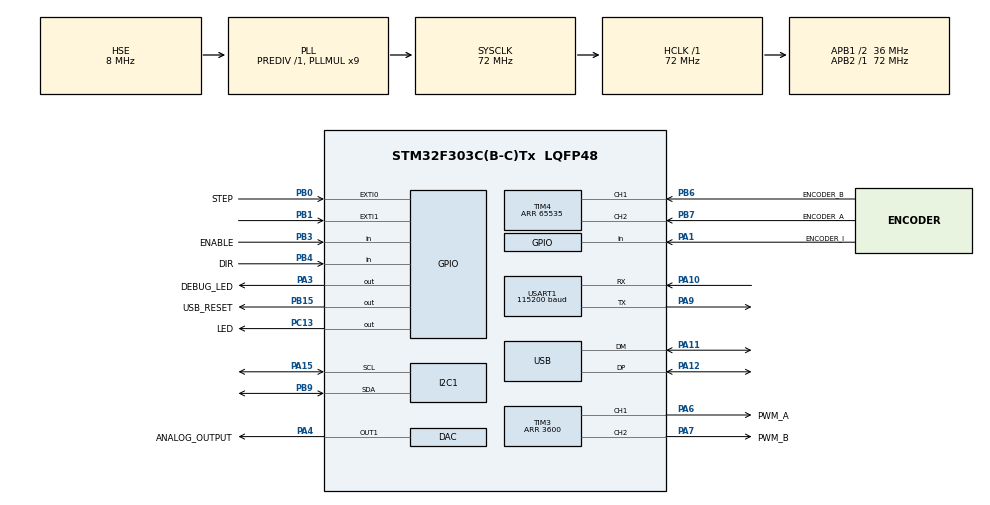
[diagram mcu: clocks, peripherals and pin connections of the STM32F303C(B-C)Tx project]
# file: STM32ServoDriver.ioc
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DAC.DAC_OutputBuffer=DAC_OUTPUTBUFFER_ENABLE
DAC.DAC_Trigger=DAC_TRIGGER_NONE
Dma.Request0=USART1_RX
Dma.USART1_RX.0.Direction=DMA_PERIPH_TO_MEMORY
Dma.USART1_RX.0.Instance=DMA1_Channel5
Dma.USART1_RX.0.MemDataAlignment=DMA_MDATAALIGN_BYTE
Dma.USART1_RX.0.MemInc=DMA_MINC_ENABLE
Dma.USART1_RX.0.Mode=DMA_CIRCULAR
Dma.USART1_RX.0.PeriphDataAlignment=DMA_PDATAALIGN_BYTE
Dma.USART1_RX.0.PeriphInc=DMA_PINC_DISABLE
Dma.USART1_RX.0.Priority=DMA_PRIORITY_MEDIUM
Mcu.Family=STM32F3
Mcu.Name=STM32F303C(B-C)Tx
Mcu.Package=LQFP48
Mcu.UserConstants=TIM3_NAME,"PWM";TIM4_NAME,"ENCODER"
NVIC.DMA1_Channel5_IRQn=true\:0\:0\:false\:false\:true\:false\:true
NVIC.EXTI0_IRQn=true\:0\:0\:false\:false\:true\:true\:true
NVIC.EXTI1_IRQn=true\:0\:0\:false\:false\:true\:true\:true
NVIC.PriorityGroup=NVIC_PRIORITYGROUP_4
NVIC.TIM2_IRQn=true\:0\:0\:false\:false\:true\:true\:true
NVIC.USB_LP_CAN_RX0_IRQn=true\:0\:0\:false\:false\:true\:false\:true
PA0.Signal=ADC1_IN1
PA1.GPIO_Label=ENCODER_I
PA1.Signal=GPIO_Input
PA10.Mode=Asynchronous
PA10.Signal=USART1_RX
PA11.Mode=Device
PA11.Signal=USB_DM
PA12.Mode=Device
PA12.Signal=USB_DP
PA13.Mode=Serial_Wire
PA13.Signal=SYS_JTMS-SWDIO
PA14.Mode=Serial_Wire
PA14.Signal=SYS_JTCK-SWCLK
PA15.Mode=I2C
PA15.Signal=I2C1_SCL
PA3.GPIO_Label=DEBUG_LED
PA3.Signal=GPIO_Output
PA4.GPIO_Label=ANALOG_OUTPUT
PA4.Signal=COMP_DAC1_group
PA6.GPIO_Label=PWM_A
PA6.GPIO_PuPd=GPIO_NOPULL
PA6.GPIO_Speed=GPIO_SPEED_FREQ_MEDIUM
PA6.Signal=S_TIM3_CH1
PA7.GPIO_Label=PWM_B
PA7.GPIO_PuPd=GPIO_NOPULL
PA7.GPIO_Speed=GPIO_SPEED_FREQ_MEDIUM
PA7.Signal=S_TIM3_CH2
PA9.Mode=Asynchronous
PA9.Signal=USART1_TX
PB0.GPIO_Label=STEP
PB0.GPIO_PuPd=GPIO_PULLUP
PB0.Signal=GPXTI0
PB1.Signal=GPXTI1
PB15.GPIO_Label=USB_RESET
PB15.GPIO_ModeDefaultOutputPP=GPIO_MODE_OUTPUT_PP
PB15.GPIO_PuPd=GPIO_PULLUP
PB15.Signal=GPIO_Output
PB3.GPIO_Label=ENABLE
PB3.GPIO_PuPd=GPIO_PULLUP
PB3.Signal=GPIO_Input
PB4.GPIO_Label=DIR
PB4.GPIO_PuPd=GPIO_PULLUP
PB4.Signal=GPIO_Input
PB6.GPIO_FM6=__NULL
PB6.GPIO_Label=ENCODER_B
PB6.GPIO_PuPd=GPIO_PULLUP
PB6.Signal=S_TIM4_CH1
PB7.GPIO_Label=ENCODER_A
PB7.GPIO_PuPd=GPIO_PULLUP
PB7.Signal=S_TIM4_CH2
PB9.Mode=I2C
PB9.Signal=I2C1_SDA
PC13.GPIO_Label=LED
PC13.Signal=GPIO_Output
PF0-OSC_IN.Mode=HSE-External-Oscillator
PF0-OSC_IN.Signal=RCC_OSC_IN
PF1-OSC_OUT.Mode=HSE-External-Oscillator
PF1-OSC_OUT.Signal=RCC_OSC_OUT
ProjectManager.HeapSize=0x200
ProjectManager.StackSize=0x400
ProjectManager.TargetToolchain=STM32CubeIDE
RCC.AHBFreq_Value=72000000
RCC.APB1CLKDivider=RCC_HCLK_DIV2
RCC.APB1Freq_Value=36000000
RCC.APB1TimFreq_Value=72000000
RCC.APB2Freq_Value=72000000
RCC.APB2TimFreq_Value=72000000
RCC.CortexFreq_Value=72000000
RCC.HCLKFreq_Value=72000000
RCC.HSE_VALUE=8000000
RCC.HSI_VALUE=8000000
RCC.LSE_VALUE=32768
RCC.PLLMUL=RCC_PLL_MUL9
RCC.PRESCALERUSB=RCC_USBCLKSOURCE_PLL_DIV1_5
RCC.SYSCLKFreq_VALUE=72000000
RCC.SYSCLKSourceVirtual=RCC_SYSCLKSOURCE_PLLCLK
RCC.USBFreq_Value=48000000
SH.COMP_DAC1_group.0=DAC_OUT1,DAC_OUT1
SH.S_TIM3_CH1.0=TIM3_CH1,PWM Generation1 CH1
SH.S_TIM3_CH2.0=TIM3_CH2,PWM Generation2 CH2
SH.S_TIM4_CH1.0=TIM4_CH1,Encoder_Interface
SH.S_TIM4_CH2.0=TIM4_CH2,Encoder_Interface
TIM2.Period=3000
TIM3.Channel-PWM\ Generation1\ CH1=TIM_CHANNEL_1
TIM3.Channel-PWM\ Generation2\ CH2=TIM_CHANNEL_2
TIM3.Period=3600
TIM3.Pulse-PWM\ Generation1\ CH1=360
TIM3.Pulse-PWM\ Generation2\ CH2=1800
TIM4.EncoderMode=TIM_ENCODERMODE_TI12
TIM4.IC1Filter=10
TIM4.IC2Filter=10
TIM4.Period=65535
USART1.BaudRate=115200
USART1.VirtualMode-Asynchronous=VM_ASYNC
USB_DEVICE.APP_RX_DATA_SIZE=200
USB_DEVICE.APP_TX_DATA_SIZE=200
USB_DEVICE.CLASS_NAME_FS=CDC
USB_DEVICE.VirtualMode=Cdc
USB_DEVICE.VirtualModeFS=Cdc_FS
VP_TIM2_VS_ClockSourceINT.Mode=Internal
VP_TIM6_VS_ClockSourceINT.Mode=Enable_Timer
VP_TIM7_VS_ClockSourceINT.Mode=Enable_Timer
VP_USB_DEVICE_VS_USB_DEVICE_CDC_FS.Mode=CDC_FS
board=custom

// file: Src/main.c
/* USER CODE BEGIN Header */
/**
  ******************************************************************************
  * @file           : main.c
  * @brief          : Main program body
  ******************************************************************************
  * @attention
  *
  * <h2><center>&copy; Copyright (c) 2019 STMicroelectronics.
  * All rights reserved.</center></h2>
  *
  * This software component is licensed by ST under Ultimate Liberty license
  * SLA0044, the "License"; You may not use this file except in compliance with
  * the License. You may obtain a copy of the License at:
  *                             www.st.com/SLA0044
  *
  ******************************************************************************
  */
/* USER CODE END Header */

#include "main.h"
#include "usb_device.h"

/* USER CODE BEGIN Includes */

#include <stdio.h>
#include <stdbool.h>
#include <math.h>
#include <string.h>
#include "configuration.h"
#include "printf/printf.h"
#include "usbd_cdc_if.h"
#include "stm32f3xx_hal_uart.h"
#include "stm32f3xx_hal_gpio.h"
#include "pid.h"
#include "spid.h"
#include "usart.h"
#include "sampling.h"
#include "defines.h"
#include "communication.h"
#include "encoder.h"

/* USER CODE END Includes */

DAC_HandleTypeDef hdac;

I2C_HandleTypeDef hi2c1;

TIM_HandleTypeDef htim2;
TIM_HandleTypeDef htim3;
TIM_HandleTypeDef htim4;
TIM_HandleTypeDef htim6;
TIM_HandleTypeDef htim7;

UART_HandleTypeDef huart1;
DMA_HandleTypeDef hdma_usart1_rx;

/* USER CODE BEGIN PV */

extern USBD_HandleTypeDef hUsbDeviceFS;

volatile servoConfig s;
extern volatile PID pidData;
extern uint8_t DMA_RX_Buffer[DMA_RX_BUFFER_SIZE];

/* Private variables ---------------------------------------------------------*/

/* USER CODE END PV */

void SystemClock_Config(void);
static void MX_GPIO_Init(void);
static void MX_DMA_Init(void);
static void MX_USART1_UART_Init(void);
static void MX_TIM4_Init(void);
static void MX_TIM3_Init(void);
static void MX_TIM2_Init(void);
static void MX_DAC_Init(void);
static void MX_I2C1_Init(void);
static void MX_TIM6_Init(void);
static void MX_TIM7_Init(void);
/* USER CODE BEGIN PFP */
/* Private function prototypes -----------------------------------------------*/

/* USER CODE END PFP */

/* USER CODE BEGIN 0 */

inline void irqTest()
{
	if (servoMode == SERVO_MODE_NORMAL) {
		pidData.cmd += (DIR_GPIO_Port->IDR & DIR_Pin) ? pidData.step_multiplier : -pidData.step_multiplier;
	}
}

void HAL_GPIO_EXTI_Callback(uint16_t GPIO_Pin)
{
	if (GPIO_Pin == GPIO_PIN_0) {
		irqTest();
	}
}

static inline void updateOutput()
{
	if (pidData.output > 0) {
		__HAL_TIM_SET_COMPARE(&htim3, TIM_CHANNEL_1, ABS((int)pidData.output));
		__HAL_TIM_SET_COMPARE(&htim3, TIM_CHANNEL_2, 0);
		//TIM3->CCR1 = pidState.duty;
		//TIM3->CCR2 = 0;
	} else {
		__HAL_TIM_SET_COMPARE(&htim3, TIM_CHANNEL_1, 0);
		__HAL_TIM_SET_COMPARE(&htim3, TIM_CHANNEL_2, ABS((int)pidData.output));
		//TIM3->CCR1 = 0;
		//TIM3->CCR2 = pidState.duty;
	}

//		HAL_DAC_SetValue(
//				&hdac,
//				DAC_CHANNEL_1,
//				DAC_ALIGN_12B_R,
//				CLAMP(0x7FF + ((int32_t)spid_ctx.last_error * 25), 0, 0b111111111111)
//		);
}

void HAL_TIM_PeriodElapsedCallback(TIM_HandleTypeDef *htim)
{
	if (htim == &htim2) {

		updateEncoder();
		calcSPid(1.0f);

		switch (servoMode) {
			case SERVO_MODE_VELOCITY:
				pidData.cmd += servoSpeed;
				break;
			case SERVO_MODE_PWM:
				pidData.output = servoSpeed;
				break;
		}

		updateOutput();
		handleSampling();
		handleStatus();
	}
}

void XferHalfCpltCallback(struct __DMA_HandleTypeDef * hdma)
{
	#if COMMUNICATION_CHANNEL == COMMUNICATION_UART

	processUart();

	#endif
}

/* USER CODE END 0 */

int main(void)
{

  /* MCU Configuration--------------------------------------------------------*/

  /* Reset of all peripherals, Initializes the Flash interface and the Systick. */
  HAL_Init();

  /* Configure the system clock */
  SystemClock_Config();

  /* Initialize all configured peripherals */
  MX_GPIO_Init();
  MX_DMA_Init();
  MX_USART1_UART_Init();
  MX_TIM4_Init();
  MX_TIM3_Init();
  MX_TIM2_Init();
  MX_DAC_Init();
  MX_USB_DEVICE_Init();
  MX_I2C1_Init();
  MX_TIM6_Init();
  MX_TIM7_Init();
  /* USER CODE BEGIN 2 */

  HAL_Delay(10);
  HAL_GPIO_WritePin(USB_RESET_GPIO_Port, USB_RESET_Pin, GPIO_PIN_SET);

  /* Unlock the Flash Program Erase controller */
  //FLASH_Unlock();

  /* EEPROM Init */
  //EE_Init();

  initPid();
  initSPid(&pidData);

  HAL_TIM_Encoder_Start(&htim4, TIM_CHANNEL_ALL);

  HAL_TIM_PWM_Start(&htim3, TIM_CHANNEL_1);
  HAL_TIM_PWM_Start(&htim3, TIM_CHANNEL_2);

  HAL_DAC_Start(&hdac, DAC_CHANNEL_1);
  HAL_TIM_Base_Start_IT(&htim2);

  #if COMMUNICATION_CHANNEL == COMMUNICATION_UART

  hdma_usart1_rx.XferHalfCpltCallback = XferHalfCpltCallback;
  hdma_usart1_rx.XferCpltCallback = XferHalfCpltCallback;

  HAL_UART_Receive_DMA((UART_HandleTypeDef*)&huart1, (uint8_t*)&DMA_RX_Buffer, DMA_RX_BUFFER_SIZE);

  #endif

  /* USER CODE END 2 */

  /* Infinite loop */
  /* USER CODE BEGIN WHILE */

  while (1)
  {
	  HAL_Delay(5);

	  #if COMMUNICATION_CHANNEL == COMMUNICATION_USB

	  processUSB();

	  #endif

    /* USER CODE END WHILE */

  }
}

void SystemClock_Config(void)
{
  RCC_OscInitTypeDef RCC_OscInitStruct = {0};
  RCC_ClkInitTypeDef RCC_ClkInitStruct = {0};
  RCC_PeriphCLKInitTypeDef PeriphClkInit = {0};

  /** Initializes the CPU, AHB and APB busses clocks
  */
  RCC_OscInitStruct.OscillatorType = RCC_OSCILLATORTYPE_HSI|RCC_OSCILLATORTYPE_HSE;
  RCC_OscInitStruct.HSEState = RCC_HSE_ON;
  RCC_OscInitStruct.HSEPredivValue = RCC_HSE_PREDIV_DIV1;
  RCC_OscInitStruct.HSIState = RCC_HSI_ON;
  RCC_OscInitStruct.HSICalibrationValue = RCC_HSICALIBRATION_DEFAULT;
  RCC_OscInitStruct.PLL.PLLState = RCC_PLL_ON;
  RCC_OscInitStruct.PLL.PLLSource = RCC_PLLSOURCE_HSE;
  RCC_OscInitStruct.PLL.PLLMUL = RCC_PLL_MUL9;
  if (HAL_RCC_OscConfig(&RCC_OscInitStruct) != HAL_OK)
  {
    Error_Handler();
  }
  /** Initializes the CPU, AHB and APB busses clocks
  */
  RCC_ClkInitStruct.ClockType = RCC_CLOCKTYPE_HCLK|RCC_CLOCKTYPE_SYSCLK
                              |RCC_CLOCKTYPE_PCLK1|RCC_CLOCKTYPE_PCLK2;
  RCC_ClkInitStruct.SYSCLKSource = RCC_SYSCLKSOURCE_PLLCLK;
  RCC_ClkInitStruct.AHBCLKDivider = RCC_SYSCLK_DIV1;
  RCC_ClkInitStruct.APB1CLKDivider = RCC_HCLK_DIV2;
  RCC_ClkInitStruct.APB2CLKDivider = RCC_HCLK_DIV1;

  if (HAL_RCC_ClockConfig(&RCC_ClkInitStruct, FLASH_LATENCY_2) != HAL_OK)
  {
    Error_Handler();
  }
  PeriphClkInit.PeriphClockSelection = RCC_PERIPHCLK_USB|RCC_PERIPHCLK_USART1
                              |RCC_PERIPHCLK_I2C1;
  PeriphClkInit.Usart1ClockSelection = RCC_USART1CLKSOURCE_PCLK2;
  PeriphClkInit.I2c1ClockSelection = RCC_I2C1CLKSOURCE_HSI;
  PeriphClkInit.USBClockSelection = RCC_USBCLKSOURCE_PLL_DIV1_5;
  if (HAL_RCCEx_PeriphCLKConfig(&PeriphClkInit) != HAL_OK)
  {
    Error_Handler();
  }
}

static void MX_DAC_Init(void)
{

  DAC_ChannelConfTypeDef sConfig = {0};

  /** DAC Initialization
  */
  hdac.Instance = DAC;
  if (HAL_DAC_Init(&hdac) != HAL_OK)
  {
    Error_Handler();
  }
  /** DAC channel OUT1 config
  */
  sConfig.DAC_Trigger = DAC_TRIGGER_NONE;
  sConfig.DAC_OutputBuffer = DAC_OUTPUTBUFFER_ENABLE;
  if (HAL_DAC_ConfigChannel(&hdac, &sConfig, DAC_CHANNEL_1) != HAL_OK)
  {
    Error_Handler();
  }

}

static void MX_I2C1_Init(void)
{

  hi2c1.Instance = I2C1;
  hi2c1.Init.Timing = 0x2000090E;
  hi2c1.Init.OwnAddress1 = 0;
  hi2c1.Init.AddressingMode = I2C_ADDRESSINGMODE_7BIT;
  hi2c1.Init.DualAddressMode = I2C_DUALADDRESS_DISABLE;
  hi2c1.Init.OwnAddress2 = 0;
  hi2c1.Init.OwnAddress2Masks = I2C_OA2_NOMASK;
  hi2c1.Init.GeneralCallMode = I2C_GENERALCALL_DISABLE;
  hi2c1.Init.NoStretchMode = I2C_NOSTRETCH_DISABLE;
  if (HAL_I2C_Init(&hi2c1) != HAL_OK)
  {
    Error_Handler();
  }
  /** Configure Analogue filter
  */
  if (HAL_I2CEx_ConfigAnalogFilter(&hi2c1, I2C_ANALOGFILTER_ENABLE) != HAL_OK)
  {
    Error_Handler();
  }
  /** Configure Digital filter
  */
  if (HAL_I2CEx_ConfigDigitalFilter(&hi2c1, 0) != HAL_OK)
  {
    Error_Handler();
  }

}

static void MX_TIM2_Init(void)
{

  TIM_ClockConfigTypeDef sClockSourceConfig = {0};
  TIM_MasterConfigTypeDef sMasterConfig = {0};

  htim2.Instance = TIM2;
  htim2.Init.Prescaler = 0;
  htim2.Init.CounterMode = TIM_COUNTERMODE_UP;
  htim2.Init.Period = 3000;
  htim2.Init.ClockDivision = TIM_CLOCKDIVISION_DIV1;
  htim2.Init.AutoReloadPreload = TIM_AUTORELOAD_PRELOAD_DISABLE;
  if (HAL_TIM_Base_Init(&htim2) != HAL_OK)
  {
    Error_Handler();
  }
  sClockSourceConfig.ClockSource = TIM_CLOCKSOURCE_INTERNAL;
  if (HAL_TIM_ConfigClockSource(&htim2, &sClockSourceConfig) != HAL_OK)
  {
    Error_Handler();
  }
  sMasterConfig.MasterOutputTrigger = TIM_TRGO_RESET;
  sMasterConfig.MasterSlaveMode = TIM_MASTERSLAVEMODE_DISABLE;
  if (HAL_TIMEx_MasterConfigSynchronization(&htim2, &sMasterConfig) != HAL_OK)
  {
    Error_Handler();
  }

}

static void MX_TIM3_Init(void)
{

  /* USER CODE BEGIN TIM3_Init 0 */

  //OUTPUT PWM
  //OUTPUT PWM
  //OUTPUT PWM

  /* USER CODE END TIM3_Init 0 */

  TIM_MasterConfigTypeDef sMasterConfig = {0};
  TIM_OC_InitTypeDef sConfigOC = {0};

  htim3.Instance = TIM3;
  htim3.Init.Prescaler = 0;
  htim3.Init.CounterMode = TIM_COUNTERMODE_UP;
  htim3.Init.Period = 3600;
  htim3.Init.ClockDivision = TIM_CLOCKDIVISION_DIV1;
  htim3.Init.AutoReloadPreload = TIM_AUTORELOAD_PRELOAD_DISABLE;
  if (HAL_TIM_PWM_Init(&htim3) != HAL_OK)
  {
    Error_Handler();
  }
  sMasterConfig.MasterOutputTrigger = TIM_TRGO_RESET;
  sMasterConfig.MasterSlaveMode = TIM_MASTERSLAVEMODE_DISABLE;
  if (HAL_TIMEx_MasterConfigSynchronization(&htim3, &sMasterConfig) != HAL_OK)
  {
    Error_Handler();
  }
  sConfigOC.OCMode = TIM_OCMODE_PWM1;
  sConfigOC.Pulse = 360;
  sConfigOC.OCPolarity = TIM_OCPOLARITY_HIGH;
  sConfigOC.OCFastMode = TIM_OCFAST_DISABLE;
  if (HAL_TIM_PWM_ConfigChannel(&htim3, &sConfigOC, TIM_CHANNEL_1) != HAL_OK)
  {
    Error_Handler();
  }
  sConfigOC.Pulse = 1800;
  if (HAL_TIM_PWM_ConfigChannel(&htim3, &sConfigOC, TIM_CHANNEL_2) != HAL_OK)
  {
    Error_Handler();
  }
  HAL_TIM_MspPostInit(&htim3);

}

static void MX_TIM4_Init(void)
{

  /* USER CODE BEGIN TIM4_Init 0 */

  //ENCODER
  //ENCODER
  //ENCODER

  /* USER CODE END TIM4_Init 0 */

  TIM_Encoder_InitTypeDef sConfig = {0};
  TIM_MasterConfigTypeDef sMasterConfig = {0};

  htim4.Instance = TIM4;
  htim4.Init.Prescaler = 0;
  htim4.Init.CounterMode = TIM_COUNTERMODE_UP;
  htim4.Init.Period = 65535;
  htim4.Init.ClockDivision = TIM_CLOCKDIVISION_DIV1;
  htim4.Init.AutoReloadPreload = TIM_AUTORELOAD_PRELOAD_DISABLE;
  sConfig.EncoderMode = TIM_ENCODERMODE_TI12;
  sConfig.IC1Polarity = TIM_ICPOLARITY_RISING;
  sConfig.IC1Selection = TIM_ICSELECTION_DIRECTTI;
  sConfig.IC1Prescaler = TIM_ICPSC_DIV1;
  sConfig.IC1Filter = 10;
  sConfig.IC2Polarity = TIM_ICPOLARITY_RISING;
  sConfig.IC2Selection = TIM_ICSELECTION_DIRECTTI;
  sConfig.IC2Prescaler = TIM_ICPSC_DIV1;
  sConfig.IC2Filter = 10;
  if (HAL_TIM_Encoder_Init(&htim4, &sConfig) != HAL_OK)
  {
    Error_Handler();
  }
  sMasterConfig.MasterOutputTrigger = TIM_TRGO_RESET;
  sMasterConfig.MasterSlaveMode = TIM_MASTERSLAVEMODE_DISABLE;
  if (HAL_TIMEx_MasterConfigSynchronization(&htim4, &sMasterConfig) != HAL_OK)
  {
    Error_Handler();
  }

}

static void MX_TIM6_Init(void)
{

  TIM_MasterConfigTypeDef sMasterConfig = {0};

  htim6.Instance = TIM6;
  htim6.Init.Prescaler = 0;
  htim6.Init.CounterMode = TIM_COUNTERMODE_UP;
  htim6.Init.Period = 0;
  htim6.Init.AutoReloadPreload = TIM_AUTORELOAD_PRELOAD_DISABLE;
  if (HAL_TIM_Base_Init(&htim6) != HAL_OK)
  {
    Error_Handler();
  }
  sMasterConfig.MasterOutputTrigger = TIM_TRGO_RESET;
  sMasterConfig.MasterSlaveMode = TIM_MASTERSLAVEMODE_DISABLE;
  if (HAL_TIMEx_MasterConfigSynchronization(&htim6, &sMasterConfig) != HAL_OK)
  {
    Error_Handler();
  }

}

static void MX_TIM7_Init(void)
{

  TIM_MasterConfigTypeDef sMasterConfig = {0};

  htim7.Instance = TIM7;
  htim7.Init.Prescaler = 0;
  htim7.Init.CounterMode = TIM_COUNTERMODE_UP;
  htim7.Init.Period = 0;
  htim7.Init.AutoReloadPreload = TIM_AUTORELOAD_PRELOAD_DISABLE;
  if (HAL_TIM_Base_Init(&htim7) != HAL_OK)
  {
    Error_Handler();
  }
  sMasterConfig.MasterOutputTrigger = TIM_TRGO_RESET;
  sMasterConfig.MasterSlaveMode = TIM_MASTERSLAVEMODE_DISABLE;
  if (HAL_TIMEx_MasterConfigSynchronization(&htim7, &sMasterConfig) != HAL_OK)
  {
    Error_Handler();
  }

}

static void MX_USART1_UART_Init(void)
{

  huart1.Instance = USART1;
  huart1.Init.BaudRate = 115200;
  huart1.Init.WordLength = UART_WORDLENGTH_8B;
  huart1.Init.StopBits = UART_STOPBITS_1;
  huart1.Init.Parity = UART_PARITY_NONE;
  huart1.Init.Mode = UART_MODE_TX_RX;
  huart1.Init.HwFlowCtl = UART_HWCONTROL_NONE;
  huart1.Init.OverSampling = UART_OVERSAMPLING_16;
  huart1.Init.OneBitSampling = UART_ONE_BIT_SAMPLE_DISABLE;
  huart1.AdvancedInit.AdvFeatureInit = UART_ADVFEATURE_NO_INIT;
  if (HAL_UART_Init(&huart1) != HAL_OK)
  {
    Error_Handler();
  }

}

static void MX_DMA_Init(void)
{
  /* DMA controller clock enable */
  __HAL_RCC_DMA1_CLK_ENABLE();

  /* DMA interrupt init */
  /* DMA1_Channel5_IRQn interrupt configuration */
  HAL_NVIC_SetPriority(DMA1_Channel5_IRQn, 0, 0);
  HAL_NVIC_EnableIRQ(DMA1_Channel5_IRQn);

}

static void MX_GPIO_Init(void)
{
  GPIO_InitTypeDef GPIO_InitStruct = {0};

  /* GPIO Ports Clock Enable */
  __HAL_RCC_GPIOC_CLK_ENABLE();
  __HAL_RCC_GPIOF_CLK_ENABLE();
  __HAL_RCC_GPIOA_CLK_ENABLE();
  __HAL_RCC_GPIOB_CLK_ENABLE();

  /*Configure GPIO pin Output Level */
  HAL_GPIO_WritePin(LED_GPIO_Port, LED_Pin, GPIO_PIN_RESET);

  /*Configure GPIO pin Output Level */
  HAL_GPIO_WritePin(DEBUG_LED_GPIO_Port, DEBUG_LED_Pin, GPIO_PIN_RESET);

  /*Configure GPIO pin Output Level */
  HAL_GPIO_WritePin(USB_RESET_GPIO_Port, USB_RESET_Pin, GPIO_PIN_RESET);

  /*Configure GPIO pin : LED_Pin */
  GPIO_InitStruct.Pin = LED_Pin;
  GPIO_InitStruct.Mode = GPIO_MODE_OUTPUT_PP;
  GPIO_InitStruct.Pull = GPIO_NOPULL;
  GPIO_InitStruct.Speed = GPIO_SPEED_FREQ_LOW;
  HAL_GPIO_Init(LED_GPIO_Port, &GPIO_InitStruct);

  /*Configure GPIO pin : PA0 */
  GPIO_InitStruct.Pin = GPIO_PIN_0;
  GPIO_InitStruct.Mode = GPIO_MODE_ANALOG;
  GPIO_InitStruct.Pull = GPIO_NOPULL;
  HAL_GPIO_Init(GPIOA, &GPIO_InitStruct);

  /*Configure GPIO pin : ENCODER_I_Pin */
  GPIO_InitStruct.Pin = ENCODER_I_Pin;
  GPIO_InitStruct.Mode = GPIO_MODE_INPUT;
  GPIO_InitStruct.Pull = GPIO_NOPULL;
  HAL_GPIO_Init(ENCODER_I_GPIO_Port, &GPIO_InitStruct);

  /*Configure GPIO pin : DEBUG_LED_Pin */
  GPIO_InitStruct.Pin = DEBUG_LED_Pin;
  GPIO_InitStruct.Mode = GPIO_MODE_OUTPUT_PP;
  GPIO_InitStruct.Pull = GPIO_NOPULL;
  GPIO_InitStruct.Speed = GPIO_SPEED_FREQ_LOW;
  HAL_GPIO_Init(DEBUG_LED_GPIO_Port, &GPIO_InitStruct);

  /*Configure GPIO pin : STEP_Pin */
  GPIO_InitStruct.Pin = STEP_Pin;
  GPIO_InitStruct.Mode = GPIO_MODE_IT_RISING;
  GPIO_InitStruct.Pull = GPIO_PULLUP;
  HAL_GPIO_Init(STEP_GPIO_Port, &GPIO_InitStruct);

  /*Configure GPIO pin : PB1 */
  GPIO_InitStruct.Pin = GPIO_PIN_1;
  GPIO_InitStruct.Mode = GPIO_MODE_IT_RISING;
  GPIO_InitStruct.Pull = GPIO_NOPULL;
  HAL_GPIO_Init(GPIOB, &GPIO_InitStruct);

  /*Configure GPIO pin : USB_RESET_Pin */
  GPIO_InitStruct.Pin = USB_RESET_Pin;
  GPIO_InitStruct.Mode = GPIO_MODE_OUTPUT_PP;
  GPIO_InitStruct.Pull = GPIO_PULLUP;
  GPIO_InitStruct.Speed = GPIO_SPEED_FREQ_LOW;
  HAL_GPIO_Init(USB_RESET_GPIO_Port, &GPIO_InitStruct);

  /*Configure GPIO pins : ENABLE_Pin DIR_Pin */
  GPIO_InitStruct.Pin = ENABLE_Pin|DIR_Pin;
  GPIO_InitStruct.Mode = GPIO_MODE_INPUT;
  GPIO_InitStruct.Pull = GPIO_PULLUP;
  HAL_GPIO_Init(GPIOB, &GPIO_InitStruct);

  /* EXTI interrupt init*/
  HAL_NVIC_SetPriority(EXTI0_IRQn, 0, 0);
  HAL_NVIC_EnableIRQ(EXTI0_IRQn);

  HAL_NVIC_SetPriority(EXTI1_IRQn, 0, 0);
  HAL_NVIC_EnableIRQ(EXTI1_IRQn);

}

void Error_Handler(void)
{
  while(1)
  {
  }
}

/************************ (C) COPYRIGHT STMicroelectronics *****END OF FILE****/
